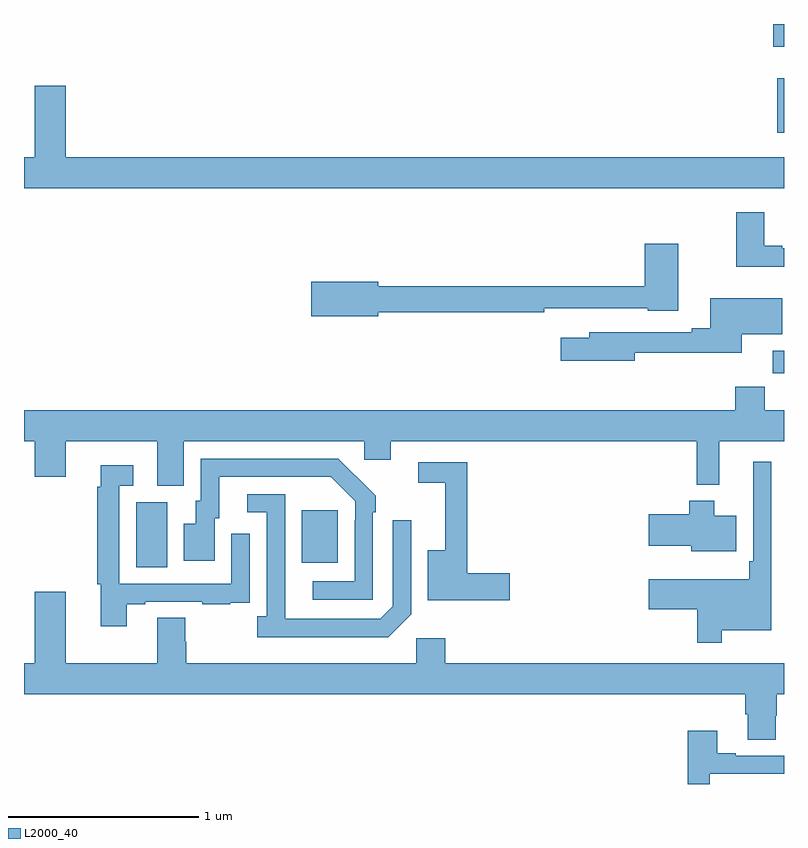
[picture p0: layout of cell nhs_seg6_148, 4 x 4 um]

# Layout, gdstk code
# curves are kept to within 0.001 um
import gdstk
lib = gdstk.Library(unit=1e-6, precision=1e-09)
def R(c, l, rs):  # rectangles x0, y0, x1, y1
    for r in rs: c.add(gdstk.rectangle(r[:2], r[2:], *l))
def P(c, l, *ps):  # polygons
    for p in ps: c.add(gdstk.Polygon(p, *l))
L2000_40 = (2000, 40)

nhs_seg6_148 = lib.new_cell('nhs_seg6_148')
R(nhs_seg6_148, L2000_40, [(117.59,978.64,117.754,978.984), (118.463,978.665,118.651,978.94), (120.94,979.662,121,979.78), (120.965,980.928,121,981.214), (120.944,981.38,121,981.5)])
P(nhs_seg6_148, L2000_40, [(121,980.8),(117.22,980.8),(117.22,981.175),(117.056,981.175),(117.056,980.8),(117,980.8),(117,980.636),(121,980.636)],
  [(121,980.319),(120.991,980.319),(120.991,980.332),(120.895,980.332),(120.895,980.509),(120.748,980.509),(120.748,980.222),(121,980.222)],
  [(118.864,979.984),(119.738,979.984),(119.738,980.004),(120.282,980.004),(120.282,979.991),(120.444,979.991),(120.444,980.344),(120.266,980.344),(120.266,980.12),(118.864,980.12),(118.864,980.144),(118.512,980.144),(118.512,979.961),(118.864,979.961)],
  [(120.214,979.77),(120.778,979.77),(120.778,979.868),(120.991,979.868),(120.991,980.056),(120.611,980.056),(120.611,979.898),(120.515,979.898),(120.515,979.878),(119.975,979.878),(119.975,979.849),(119.826,979.849),(119.826,979.727),(120.214,979.727)],
  [(117.841,979.304),(118.791,979.304),(118.791,979.206),(118.93,979.206),(118.93,979.304),(120.541,979.304),(120.541,979.076),(120.659,979.076),(120.659,979.304),(121,979.304),(121,979.468),(120.899,979.468),(120.899,979.592),(120.743,979.592),(120.743,979.468),(117,979.468),(117,979.304),(117.056,979.304),(117.056,979.116),(117.22,979.116),(117.22,979.304),(117.701,979.304),(117.701,979.069),(117.841,979.069)],
  [(118.836,978.929),(118.851,978.929),(118.851,979.017),(118.654,979.212),(117.93,979.212),(117.93,978.99),(117.905,978.99),(117.905,978.871),(117.842,978.871),(117.842,978.675),(118.003,978.675),(118.003,978.9),(118.027,978.9),(118.027,979.116),(118.615,979.116),(118.743,978.987),(118.743,978.887),(118.74,978.887),(118.74,978.567),(118.521,978.567),(118.521,978.471),(118.836,978.471)],
  [(120.673,978.308),(120.934,978.308),(120.934,979.195),(120.837,979.195),(120.837,978.673),(120.817,978.673),(120.817,978.577),(120.288,978.577),(120.288,978.419),(120.544,978.419),(120.544,978.243),(120.673,978.243)],
  [(119.557,978.608),(119.333,978.608),(119.333,979.194),(119.076,979.194),(119.076,979.086),(119.216,979.086),(119.216,978.73),(119.126,978.73),(119.126,978.466),(119.557,978.466)],
  [(117.541,978.447),(117.637,978.447),(117.637,978.459),(117.937,978.459),(117.937,978.447),(118.085,978.447),(118.085,978.453),(118.187,978.453),(118.187,978.562),(118.188,978.562),(118.188,978.817),(118.092,978.817),(118.092,978.555),(117.501,978.555),(117.501,979.071),(117.574,979.071),(117.574,979.177),(117.404,979.177),(117.404,979.064),(117.385,979.064),(117.385,978.552),(117.404,978.552),(117.404,978.33),(117.541,978.33)],
  [(119.037,978.393),(119.037,978.889),(118.941,978.889),(118.941,978.435),(118.875,978.369),(118.375,978.369),(118.374,979.026),(118.176,979.026),(118.176,978.93),(118.278,978.93),(118.278,978.382),(118.227,978.382),(118.227,978.272),(118.916,978.272)],
  [(120.748,978.913),(120.634,978.913),(120.634,978.991),(120.5,978.991),(120.5,978.921),(120.288,978.921),(120.288,978.755),(120.512,978.755),(120.512,978.725),(120.748,978.725)],
  [(120.957,977.859),(120.962,977.859),(120.962,977.972),(121,977.972),(121,978.136),(119.216,978.136),(119.216,978.268),(119.064,978.268),(119.064,978.136),(117.854,978.136),(117.854,978.249),(117.849,978.249),(117.849,978.374),(117.701,978.374),(117.701,978.136),(117.22,978.136),(117.22,978.511),(117.056,978.511),(117.056,978.136),(117,978.136),(117,977.972),(120.797,977.972),(120.797,977.866),(120.809,977.866),(120.809,977.734),(120.957,977.734)],
  [(120.609,977.553),(121,977.553),(121,977.649),(120.745,977.649),(120.745,977.662),(120.649,977.662),(120.649,977.779),(120.493,977.779),(120.493,977.5),(120.609,977.5)])

lib.write_gds('nhs_seg6_148.gds')
